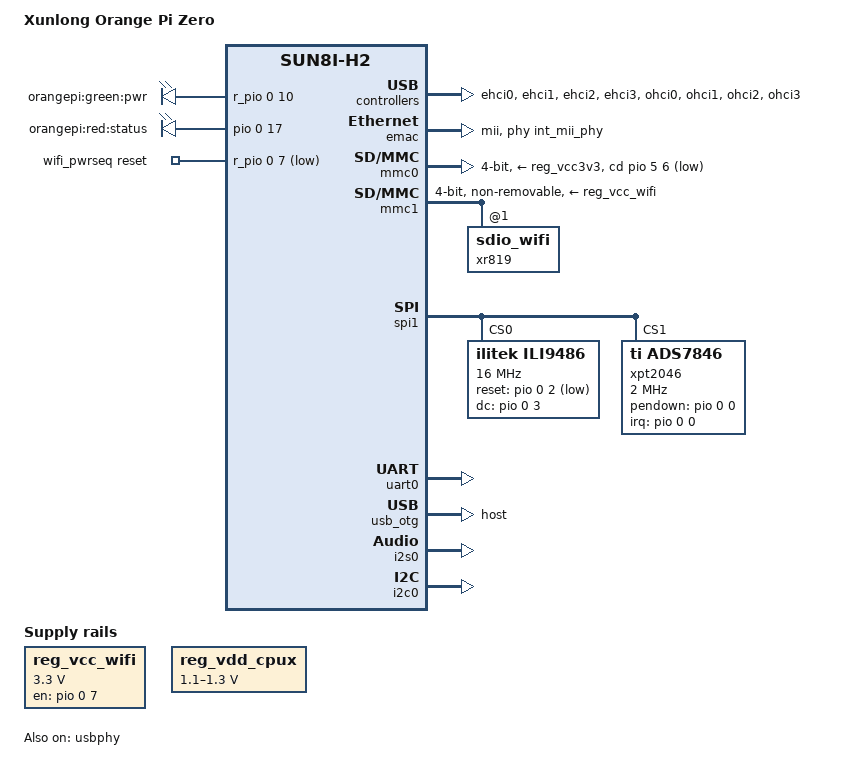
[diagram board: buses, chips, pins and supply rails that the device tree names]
/*
 * Copyright (C) 2016 Icenowy Zheng <icenowy@aosc.xyz>
 *
 * Based on sun8i-h3-orangepi-one.dts, which is:
 *   Copyright (C) 2016 Hans de Goede <hdegoede@redhat.com>
 *
 * This file is dual-licensed: you can use it either under the terms
 * of the GPL or the X11 license, at your option. Note that this dual
 * licensing only applies to this file, and not this project as a
 * whole.
 *
 *  a) This file is free software; you can redistribute it and/or
 *     modify it under the terms of the GNU General Public License as
 *     published by the Free Software Foundation; either version 2 of the
 *     License, or (at your option) any later version.
 *
 *     This file is distributed in the hope that it will be useful,
 *     but WITHOUT ANY WARRANTY; without even the implied warranty of
 *     MERCHANTABILITY or FITNESS FOR A PARTICULAR PURPOSE.  See the
 *     GNU General Public License for more details.
 *
 * Or, alternatively,
 *
 *  b) Permission is hereby granted, free of charge, to any person
 *     obtaining a copy of this software and associated documentation
 *     files (the "Software"), to deal in the Software without
 *     restriction, including without limitation the rights to use,
 *     copy, modify, merge, publish, distribute, sublicense, and/or
 *     sell copies of the Software, and to permit persons to whom the
 *     Software is furnished to do so, subject to the following
 *     conditions:
 *
 *     The above copyright notice and this permission notice shall be
 *     included in all copies or substantial portions of the Software.
 *
 *     THE SOFTWARE IS PROVIDED "AS IS", WITHOUT WARRANTY OF ANY KIND,
 *     EXPRESS OR IMPLIED, INCLUDING BUT NOT LIMITED TO THE WARRANTIES
 *     OF MERCHANTABILITY, FITNESS FOR A PARTICULAR PURPOSE AND
 *     NONINFRINGEMENT. IN NO EVENT SHALL THE AUTHORS OR COPYRIGHT
 *     HOLDERS BE LIABLE FOR ANY CLAIM, DAMAGES OR OTHER LIABILITY,
 *     WHETHER IN AN ACTION OF CONTRACT, TORT OR OTHERWISE, ARISING
 *     FROM, OUT OF OR IN CONNECTION WITH THE SOFTWARE OR THE USE OR
 *     OTHER DEALINGS IN THE SOFTWARE.
 */

/dts-v1/;
#include "sun8i-h3.dtsi"
#include "sunxi-common-regulators.dtsi"

#include <dt-bindings/gpio/gpio.h>
#include <dt-bindings/input/input.h>

/ {
	model = "Xunlong Orange Pi Zero";
	compatible = "xunlong,orangepi-zero", "allwinner,sun8i-h2-plus";

	aliases {
		serial0 = &uart0;
		/* ethernet0 is the H3 emac, defined in sun8i-h3.dtsi */
		ethernet0 = &emac;
		ethernet1 = &xr819;
	};

	chosen {
		stdout-path = "serial0:115200n8";
	};

	leds {
		compatible = "gpio-leds";

		pwr_led {
			label = "orangepi:green:pwr";
			gpios = <&r_pio 0 10 GPIO_ACTIVE_HIGH>;
			default-state = "on";
		};

		status_led {
			label = "orangepi:red:status";
			gpios = <&pio 0 17 GPIO_ACTIVE_HIGH>;
			linux,default-trigger = "heartbeat";
		};
	};

	wifi_reg_pin: wifi-reg-pin {
		pins = "PA7";
		function = "gpio_out";
	};

	// ili9486_pins: ili9486_pins {
	// 	pins = "PA2", "PA3";
	// 	function = "gpio_in";
	// };

	reg_vcc_wifi: reg_vcc_wifi {
		compatible = "regulator-fixed";

		pinctrl-names = "default";
		pinctrl-0 = <&wifi_reg_pin>;

		regulator-min-microvolt = <3300000>;
		regulator-max-microvolt = <3300000>;
		regulator-name = "vcc-wifi";
		enable-active-high;
		gpio = <&pio 0 7 GPIO_ACTIVE_HIGH>;
	};

	reg_vdd_cpux: vdd-cpux-regulator {
		compatible = "regulator-gpio";
		regulator-name = "vdd-cpux";
		regulator-type = "voltage";
		regulator-boot-on;
		regulator-always-on;
		regulator-min-microvolt = <1100000>;
		regulator-max-microvolt = <1300000>;
		regulator-ramp-delay = <50>; /* 4ms */

		gpios = <&r_pio 0 6 GPIO_ACTIVE_HIGH>; /* PL6 */
		enable-active-high;
		gpios-states = <1>;
		states = <1100000 0>, <1300000 1>;
	};

	wifi_pwrseq: wifi_pwrseq {
		compatible = "mmc-pwrseq-simple";
		reset-gpios = <&r_pio 0 7 GPIO_ACTIVE_LOW>;
		post-power-on-delay-ms = <200>;
	};

	pcm5102a: pcm5102a {
		#sound-dai-cells = <0>;
		compatible = "ti,pcm5102a";
		status = "okay";
	};


	sound {
		compatible = "simple-audio-card";
		simple-audio-card,name = "I2S-Master PCM5102a";
		simple-audio-card,format = "i2s";
		simple-audio-card,mclk-fs = <256>;
		status ="okay";

		simple-audio-card,cpu {
			sound-dai = <&i2s0>;
		};

		simple-audio-card,codec {
			sound-dai = <&pcm5102a>;     
		};

	};

};

&cpu0 {
	cpu-supply = <&reg_vdd_cpux>;
};

&ehci0 {
	status = "okay";
};

&ehci1 {
	status = "okay";
};

&ehci2 {
	status = "okay";
};

&ehci3 {
	status = "okay";
};

&emac {
	phy-handle = <&int_mii_phy>;
	phy-mode = "mii";
	allwinner,leds-active-low;
	status = "okay";
};

&mmc0 {
	vmmc-supply = <&reg_vcc3v3>;
	bus-width = <4>;
	cd-gpios = <&pio 5 6 GPIO_ACTIVE_LOW>; /* PF6 */
	status = "okay";
};

&mmc1 {
	vmmc-supply = <&reg_vcc_wifi>;
	mmc-pwrseq = <&wifi_pwrseq>;
	bus-width = <4>;
	non-removable;
	status = "okay";

	/*
	 * Explicitly define the sdio device, so that we can add an ethernet
	 * alias for it (which e.g. makes u-boot set a mac-address).
	 */
	xr819: sdio_wifi@1 {
		reg = <1>;
	};
};

&ohci0 {
	status = "okay";
};

&ohci1 {
	status = "okay";
};

&ohci2 {
	status = "okay";
};

&ohci3 {
	status = "okay";
};

&spi0 {
	/* Disable SPI NOR by default: it optional on Orange Pi Zero boards */
	status = "disabled";

	flash@0 {
		#address-cells = <1>;
		#size-cells = <1>;
		compatible = "mxicy,mx25l1606e", "winbond,w25q128";
		reg = <0>;
		spi-max-frequency = <40000000>;
	};
};

&spi1 {
    status = "okay";

    ili9486: ili9486@0 {
		compatible = "ilitek,ili9486";
        rotate = <90>;
        bgr = <0>;
        fps = <30>;
        txbuflen = <32768>;
        spi-max-frequency = <16000000>;
        reg = <0>;
        regwidth = <16>;
        buswidth = <8>;
        reset-gpios = <&pio 0 2 1>; /* PA2 */
        dc-gpios = <&pio 0 3 0>; /* PA3 */
		init = <0x10000b0 0x00
				0x1000011
				0x20000ff
				0x100003a 0x55
				0x1000036 0x28
				0x10000c2 0x44
				0x10000c5 0x00 0x00 0x00 0x00
				0x10000e0 0x0f 0x1f 0x1c 0x0c 0x0f 0x08 0x48 0x98 0x37 0x0a 0x13 0x04 0x11 0x0d 0x00
				0x10000e1 0x0f 0x32 0x2e 0x0b 0x0d 0x05 0x47 0x75 0x37 0x06 0x10 0x03 0x24 0x20 0x00
				0x10000e2 0x0f 0x32 0x2e 0x0b 0x0d 0x05 0x47 0x75 0x37 0x06 0x10 0x03 0x24 0x20 0x00
				/* piscreen -> waveshare35a */
				0x1000036 0x28
				0x1000011
				0x1000029>;
    };

	xpt2046: xpt2046@1 {
		compatible = "ti,ads7846";
		reg = <1>;
		status = "okay";
		spi-max-frequency = <2000000>;
		interrupts = <0 0 2>; /* PA0 IRQ_TYPE_EDGE_FALLING */
		interrupt-parent = <&pio>;
		pendown-gpio = <&pio 0 0 0>; /* PA0 */
		wakeup-source;
		ti,keep-vref-on = <1>;
		ti,x-min = /bits/ 16 <0>;
		ti,y-min = /bits/ 16 <0>;
		ti,x-max = /bits/ 16 <0x0FFF>;
		ti,y-max = /bits/ 16 <0x0FFF>;
		ti,pressure-min = /bits/ 16 <0>;
		ti,pressure-max = /bits/ 16 <0xFFFF>;
		ti,x-plate-ohms = /bits/ 16 <400>;
	};
};

&uart0 {
	pinctrl-names = "default";
	pinctrl-0 = <&uart0_pa_pins>;
	status = "okay";
};

&uart1 {
	pinctrl-names = "default";
	pinctrl-0 = <&uart1_pins>;
	status = "disabled";
};

// &uart2 {
// 	pinctrl-names = "default";
// 	pinctrl-0 = <&uart2_pins>;
// 	status = "disabled";
// };

&usb_otg {
	dr_mode = "host";
	status = "okay";
};


&i2s0 {
	pinctrl-names = "default";
	pinctrl-0 = <&i2s0_pins>;
	status = "okay";
};

&i2c0 {
	status = "okay";
};

// &i2c1 {
// 	status = "okay";
// };

&usbphy {
	/*
	 * USB Type-A port VBUS is always on. However, MicroUSB VBUS can only
	 * power up the board; when it's used as OTG port, this VBUS is
	 * always off even if the board is powered via GPIO pins.
	 */
	status = "okay";
	usb0_id_det-gpios = <&pio 6 12 GPIO_ACTIVE_HIGH>; /* PG12 */
};
